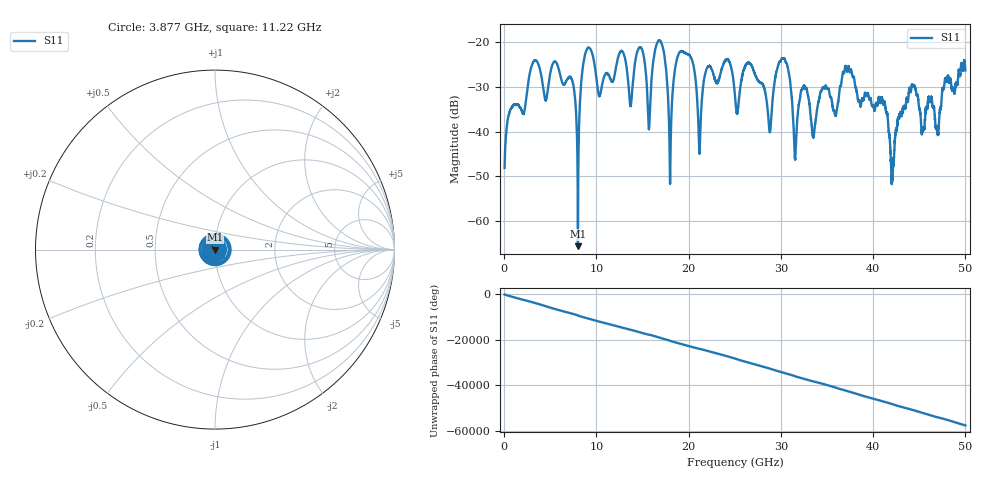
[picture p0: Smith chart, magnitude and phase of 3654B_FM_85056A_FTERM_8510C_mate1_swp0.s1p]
!Created with skrf (http://scikit-rf.org).
# Hz S RI R 50.0
!freq ReS11 ImS11
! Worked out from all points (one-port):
!   10001 points, 45 MHz to 50 GHz, reference 50 ohm
!   lowest |S11| = -65.6 dB at 7.993 GHz (marker M1), VSWR 1.00, Z = 50.1 + j0.0129 ohm
!   |S11| at or under -10 dB: start of sweep to end of sweep
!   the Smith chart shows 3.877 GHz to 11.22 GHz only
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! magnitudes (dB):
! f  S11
! 45 MHz  -48.1
! 3.207 GHz  -24.3
! 6.289 GHz  -29.1
! 7.383 GHz  -28.6
! 7.993 GHz  -65.6
! 8.952 GHz  -21.7
! 10.35 GHz  -32.0
! 12.53 GHz  -22.3
! 13.7 GHz  -34.3
! 14.87 GHz  -21.3
! 15.7 GHz  -39.4
! 16.94 GHz  -19.7
! 18 GHz  -50.1
! 18.78 GHz  -23.4
! 20.34 GHz  -23.9
! 21.17 GHz  -45.0
! 22.13 GHz  -25.5
! 25.02 GHz  -32.1
! 26.62 GHz  -24.7
! 28.8 GHz  -40.1
! 30.25 GHz  -23.6
! 31.27 GHz  -34.8
! 37.51 GHz  -26.7
! 41.1 GHz  -33.9
! 42.08 GHz  -50.2
! 43.76 GHz  -33.3
! 46.93 GHz  -39.4
! 50 GHz  -26.3
